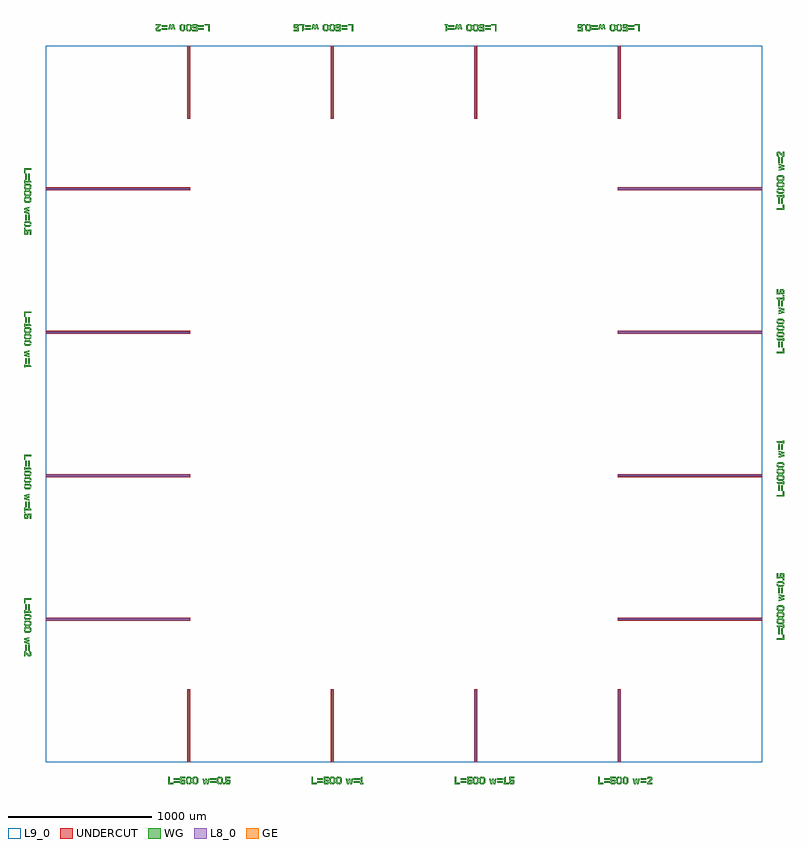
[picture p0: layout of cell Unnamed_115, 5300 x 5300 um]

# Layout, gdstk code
from math import pi, radians
import gdstk
lib = gdstk.Library(unit=1e-6, precision=1e-09)
def R(c, l, rs):  # rectangles x0, y0, x1, y1
    for r in rs: c.add(gdstk.rectangle(r[:2], r[2:], *l))
def P(c, l, *ps):  # polygons
    for p in ps: c.add(gdstk.Polygon(p, *l))
WG = (1, 0)
GE = (5, 0)
UNDERCUT = (6, 0)
L8_0 = (8, 0)
L9_0 = (9, 0)

rectangle_s5000_5000_l9_ = lib.new_cell('rectangle_S5000_5000_L9_b70b9926')
R(rectangle_s5000_5000_l9_, L9_0, [(0,0,5000,5000)])

rectangle_s2_1000_l5_0__ = lib.new_cell('rectangle_S2_1000_L5_0__abc0439f')
R(rectangle_s2_1000_l5_0__, GE, [(0,0,2,1000)])

rectangle_s20p5_1010_l6_ = lib.new_cell('rectangle_S20p5_1010_L6_62f8dd6a')
R(rectangle_s20p5_1010_l6_, UNDERCUT, [(0,0,20.5,1010)])

rectangle_s11p5_1005_l8_ = lib.new_cell('rectangle_S11p5_1005_L8_00330f73')
R(rectangle_s11p5_1005_l8_, L8_0, [(0,0,11.5,1005)])

rectangle_s21p5_1010_l6_ = lib.new_cell('rectangle_S21p5_1010_L6_237d21bb')
R(rectangle_s21p5_1010_l6_, UNDERCUT, [(0,0,21.5,1010)])

text_tl1000_w1_s50_p0_0_ = lib.new_cell('text_TL1000_w1_S50_P0_0_6f24b3aa')
R(text_tl1000_w1_s50_p0_0_, WG, [(45,10,85,20), (330,10,370,20), (45,30,85,40), (330,30,370,40)])
P(text_tl1000_w1_s50_p0_0_, WG, [(5,0),(5,50),(15,50),(15,10),(40,10),(40,0)],
  [(133.5,0),(136,10),(140,10),(145,15),(145,35),(140,40),(142.5,50),(145,50),(155,40),(155,10),(145,0)],
  [(178.5,0),(181,10),(185,10),(190,15),(190,35),(185,40),(187.5,50),(190,50),(200,40),(200,10),(190,0)],
  [(223.5,0),(226,10),(230,10),(235,15),(235,35),(230,40),(232.5,50),(235,50),(245,40),(245,10),(235,0)],
  [(125,0),(115,10),(115,40),(125,50),(136.5,50),(134,40),(130,40),(125,35),(125,15),(130,10),(127.5,0)],
  [(170,0),(160,10),(160,40),(170,50),(181.5,50),(179,40),(175,40),(170,35),(170,15),(175,10),(172.5,0)],
  [(215,0),(205,10),(205,40),(215,50),(226.5,50),(224,40),(220,40),(215,35),(215,15),(220,10),(217.5,0)],
  [(285,0),(275,35),(285,35),(290,17.5),(295,35),(305,35),(310,17.5),(315,35),(325,35),(315,0),(305,0),(300,17.5),(295,0)],
  [(90,0),(90,10),(95,10),(95,30),(90,30),(90,40),(100,50),(105,50),(105,10),(110,10),(110,0)],
  [(375,0),(375,10),(380,10),(380,30),(375,30),(375,40),(385,50),(390,50),(390,10),(395,10),(395,0)])

rectangle_s22_1010_l6_0_ = lib.new_cell('rectangle_S22_1010_L6_0_2662f377')
R(rectangle_s22_1010_l6_0_, UNDERCUT, [(0,0,22,1010)])

rectangle_s10p5_1005_l8_ = lib.new_cell('rectangle_S10p5_1005_L8_958497d4')
R(rectangle_s10p5_1005_l8_, L8_0, [(0,0,10.5,1005)])

rectangle_s1_1000_l5_0__ = lib.new_cell('rectangle_S1_1000_L5_0__ff0c7743')
R(rectangle_s1_1000_l5_0__, GE, [(0,0,1,1000)])

rectangle_s11_1005_l8_0_ = lib.new_cell('rectangle_S11_1005_L8_0_6216e62e')
R(rectangle_s11_1005_l8_0_, L8_0, [(0,0,11,1005)])

rectangle_s12_1005_l8_0_ = lib.new_cell('rectangle_S12_1005_L8_0_83c5b316')
R(rectangle_s12_1005_l8_0_, L8_0, [(0,0,12,1005)])

rectangle_s0p5_1000_l5__ = lib.new_cell('rectangle_S0p5_1000_L5__fdde3fbd')
R(rectangle_s0p5_1000_l5__, GE, [(0,0,0.5,1000)])

rectangle_s21_1010_l6_0_ = lib.new_cell('rectangle_S21_1010_L6_0_2ae6bab7')
R(rectangle_s21_1010_l6_0_, UNDERCUT, [(0,0,21,1010)])

text_tl1000_w2_s50_p0_0_ = lib.new_cell('text_TL1000_w2_S50_P0_0_6196c11b')
R(text_tl1000_w2_s50_p0_0_, WG, [(45,10,85,20), (330,10,370,20), (45,30,85,40), (330,30,370,40)])
P(text_tl1000_w2_s50_p0_0_, WG, [(5,0),(5,50),(15,50),(15,10),(40,10),(40,0)],
  [(375,0),(375,10),(400,35),(400,40),(385,40),(385,35),(375,35),(375,45),(380,50),(405,50),(410,45),(410,30),(390,10),(410,10),(410,0)],
  [(133.5,0),(136,10),(140,10),(145,15),(145,35),(140,40),(142.5,50),(145,50),(155,40),(155,10),(145,0)],
  [(178.5,0),(181,10),(185,10),(190,15),(190,35),(185,40),(187.5,50),(190,50),(200,40),(200,10),(190,0)],
  [(223.5,0),(226,10),(230,10),(235,15),(235,35),(230,40),(232.5,50),(235,50),(245,40),(245,10),(235,0)],
  [(125,0),(115,10),(115,40),(125,50),(136.5,50),(134,40),(130,40),(125,35),(125,15),(130,10),(127.5,0)],
  [(170,0),(160,10),(160,40),(170,50),(181.5,50),(179,40),(175,40),(170,35),(170,15),(175,10),(172.5,0)],
  [(215,0),(205,10),(205,40),(215,50),(226.5,50),(224,40),(220,40),(215,35),(215,15),(220,10),(217.5,0)],
  [(285,0),(275,35),(285,35),(290,17.5),(295,35),(305,35),(310,17.5),(315,35),(325,35),(315,0),(305,0),(300,17.5),(295,0)],
  [(90,0),(90,10),(95,10),(95,30),(90,30),(90,40),(100,50),(105,50),(105,10),(110,10),(110,0)])

text_tl1000_w1p5_s50_p0_ = lib.new_cell('text_TL1000_w1p5_S50_P0_775d5ec3')
R(text_tl1000_w1p5_s50_p0_, WG, [(400,0,410,10), (45,10,85,20), (330,10,370,20), (45,30,85,40), (330,30,370,40)])
P(text_tl1000_w1p5_s50_p0_, WG, [(420,0),(415,5),(415,15),(425,15),(425,10),(440,10),(440,20),(420,20),(415,25),(415,50),(450,50),(450,40),(425,40),(425,30),(445,30),(450,25),(450,5),(445,0)],
  [(133.5,0),(136,10),(140,10),(145,15),(145,35),(140,40),(142.5,50),(145,50),(155,40),(155,10),(145,0)],
  [(178.5,0),(181,10),(185,10),(190,15),(190,35),(185,40),(187.5,50),(190,50),(200,40),(200,10),(190,0)],
  [(223.5,0),(226,10),(230,10),(235,15),(235,35),(230,40),(232.5,50),(235,50),(245,40),(245,10),(235,0)],
  [(125,0),(115,10),(115,40),(125,50),(136.5,50),(134,40),(130,40),(125,35),(125,15),(130,10),(127.5,0)],
  [(170,0),(160,10),(160,40),(170,50),(181.5,50),(179,40),(175,40),(170,35),(170,15),(175,10),(172.5,0)],
  [(215,0),(205,10),(205,40),(215,50),(226.5,50),(224,40),(220,40),(215,35),(215,15),(220,10),(217.5,0)],
  [(5,0),(5,50),(15,50),(15,10),(40,10),(40,0)],
  [(285,0),(275,35),(285,35),(290,17.5),(295,35),(305,35),(310,17.5),(315,35),(325,35),(315,0),(305,0),(300,17.5),(295,0)],
  [(90,0),(90,10),(95,10),(95,30),(90,30),(90,40),(100,50),(105,50),(105,10),(110,10),(110,0)],
  [(375,0),(375,10),(380,10),(380,30),(375,30),(375,40),(385,50),(390,50),(390,10),(395,10),(395,0)])

text_tl1000_w0p5_s50_p0_ = lib.new_cell('text_TL1000_w0p5_S50_P0_1fb21efa')
R(text_tl1000_w0p5_s50_p0_, WG, [(420,0,430,10), (45,10,85,20), (330,10,370,20), (45,30,85,40), (330,30,370,40)])
P(text_tl1000_w0p5_s50_p0_, WG, [(440,0),(435,5),(435,15),(445,15),(445,10),(460,10),(460,20),(440,20),(435,25),(435,50),(470,50),(470,40),(445,40),(445,30),(465,30),(470,25),(470,5),(465,0)],
  [(133.5,0),(136,10),(140,10),(145,15),(145,35),(140,40),(142.5,50),(145,50),(155,40),(155,10),(145,0)],
  [(178.5,0),(181,10),(185,10),(190,15),(190,35),(185,40),(187.5,50),(190,50),(200,40),(200,10),(190,0)],
  [(223.5,0),(226,10),(230,10),(235,15),(235,35),(230,40),(232.5,50),(235,50),(245,40),(245,10),(235,0)],
  [(393.5,0),(396,10),(400,10),(405,15),(405,35),(400,40),(402.5,50),(405,50),(415,40),(415,10),(405,0)],
  [(125,0),(115,10),(115,40),(125,50),(136.5,50),(134,40),(130,40),(125,35),(125,15),(130,10),(127.5,0)],
  [(170,0),(160,10),(160,40),(170,50),(181.5,50),(179,40),(175,40),(170,35),(170,15),(175,10),(172.5,0)],
  [(215,0),(205,10),(205,40),(215,50),(226.5,50),(224,40),(220,40),(215,35),(215,15),(220,10),(217.5,0)],
  [(385,0),(375,10),(375,40),(385,50),(396.5,50),(394,40),(390,40),(385,35),(385,15),(390,10),(387.5,0)],
  [(5,0),(5,50),(15,50),(15,10),(40,10),(40,0)],
  [(285,0),(275,35),(285,35),(290,17.5),(295,35),(305,35),(310,17.5),(315,35),(325,35),(315,0),(305,0),(300,17.5),(295,0)],
  [(90,0),(90,10),(95,10),(95,30),(90,30),(90,40),(100,50),(105,50),(105,10),(110,10),(110,0)])

rectangle_s1p5_1000_l5__ = lib.new_cell('rectangle_S1p5_1000_L5__7c39a208')
R(rectangle_s1p5_1000_l5__, GE, [(0,0,1.5,1000)])

unnamed_113 = lib.new_cell('Unnamed_113')
unnamed_113.add(gdstk.Reference(rectangle_s2_1000_l5_0__, (4000,0)))
unnamed_113.add(gdstk.Reference(rectangle_s20p5_1010_l6_, (990,0)))
unnamed_113.add(gdstk.Reference(rectangle_s11p5_1005_l8_, (2995,0)))
unnamed_113.add(gdstk.Reference(rectangle_s21p5_1010_l6_, (2990,0)))
unnamed_113.add(gdstk.Reference(text_tl1000_w1_s50_p0_0_, (1850,-150)))
unnamed_113.add(gdstk.Reference(rectangle_s22_1010_l6_0_, (3990,0)))
unnamed_113.add(gdstk.Reference(rectangle_s10p5_1005_l8_, (995,0)))
unnamed_113.add(gdstk.Reference(rectangle_s1_1000_l5_0__, (2000,0)))
unnamed_113.add(gdstk.Reference(rectangle_s11_1005_l8_0_, (1995,0)))
unnamed_113.add(gdstk.Reference(rectangle_s12_1005_l8_0_, (3995,0)))
unnamed_113.add(gdstk.Reference(rectangle_s0p5_1000_l5__, (1000,0)))
unnamed_113.add(gdstk.Reference(rectangle_s21_1010_l6_0_, (1990,0)))
unnamed_113.add(gdstk.Reference(text_tl1000_w2_s50_p0_0_, (3850,-150)))
unnamed_113.add(gdstk.Reference(text_tl1000_w1p5_s50_p0_, (2850,-150)))
unnamed_113.add(gdstk.Reference(text_tl1000_w0p5_s50_p0_, (850,-150)))
unnamed_113.add(gdstk.Reference(rectangle_s1p5_1000_l5__, (3000,0)))

text_tl500_w2_s50_p0_0__ = lib.new_cell('text_TL500_w2_S50_P0_0__130db43a')
R(text_tl500_w2_s50_p0_0__, WG, [(45,10,85,20), (300,10,340,20), (45,30,85,40), (300,30,340,40)])
P(text_tl500_w2_s50_p0_0__, WG, [(5,0),(5,50),(15,50),(15,10),(40,10),(40,0)],
  [(345,0),(345,10),(370,35),(370,40),(355,40),(355,35),(345,35),(345,45),(350,50),(375,50),(380,45),(380,30),(360,10),(380,10),(380,0)],
  [(148.5,0),(151,10),(155,10),(160,15),(160,35),(155,40),(157.5,50),(160,50),(170,40),(170,10),(160,0)],
  [(193.5,0),(196,10),(200,10),(205,15),(205,35),(200,40),(202.5,50),(205,50),(215,40),(215,10),(205,0)],
  [(140,0),(130,10),(130,40),(140,50),(151.5,50),(149,40),(145,40),(140,35),(140,15),(145,10),(142.5,0)],
  [(185,0),(175,10),(175,40),(185,50),(196.5,50),(194,40),(190,40),(185,35),(185,15),(190,10),(187.5,0)],
  [(95,0),(90,5),(90,15),(100,15),(100,10),(115,10),(115,20),(95,20),(90,25),(90,50),(125,50),(125,40),(100,40),(100,30),(120,30),(125,25),(125,5),(120,0)],
  [(255,0),(245,35),(255,35),(260,17.5),(265,35),(275,35),(280,17.5),(285,35),(295,35),(285,0),(275,0),(270,17.5),(265,0)])

text_tl500_w1p5_s50_p0__ = lib.new_cell('text_TL500_w1p5_S50_P0__81e1402a')
R(text_tl500_w1p5_s50_p0__, WG, [(370,0,380,10), (45,10,85,20), (300,10,340,20), (45,30,85,40), (300,30,340,40)])
P(text_tl500_w1p5_s50_p0__, WG, [(345,0),(345,10),(350,10),(350,30),(345,30),(345,40),(355,50),(360,50),(360,10),(365,10),(365,0)],
  [(148.5,0),(151,10),(155,10),(160,15),(160,35),(155,40),(157.5,50),(160,50),(170,40),(170,10),(160,0)],
  [(193.5,0),(196,10),(200,10),(205,15),(205,35),(200,40),(202.5,50),(205,50),(215,40),(215,10),(205,0)],
  [(140,0),(130,10),(130,40),(140,50),(151.5,50),(149,40),(145,40),(140,35),(140,15),(145,10),(142.5,0)],
  [(185,0),(175,10),(175,40),(185,50),(196.5,50),(194,40),(190,40),(185,35),(185,15),(190,10),(187.5,0)],
  [(5,0),(5,50),(15,50),(15,10),(40,10),(40,0)],
  [(95,0),(90,5),(90,15),(100,15),(100,10),(115,10),(115,20),(95,20),(90,25),(90,50),(125,50),(125,40),(100,40),(100,30),(120,30),(125,25),(125,5),(120,0)],
  [(390,0),(385,5),(385,15),(395,15),(395,10),(410,10),(410,20),(390,20),(385,25),(385,50),(420,50),(420,40),(395,40),(395,30),(415,30),(420,25),(420,5),(415,0)],
  [(255,0),(245,35),(255,35),(260,17.5),(265,35),(275,35),(280,17.5),(285,35),(295,35),(285,0),(275,0),(270,17.5),(265,0)])

rectangle_s1p5_500_l5_0_ = lib.new_cell('rectangle_S1p5_500_L5_0_4cbd8c13')
R(rectangle_s1p5_500_l5_0_, GE, [(0,0,1.5,500)])

rectangle_s11_505_l8_0__ = lib.new_cell('rectangle_S11_505_L8_0__b5d265d8')
R(rectangle_s11_505_l8_0__, L8_0, [(0,0,11,505)])

rectangle_s12_505_l8_0__ = lib.new_cell('rectangle_S12_505_L8_0__2e610ba0')
R(rectangle_s12_505_l8_0__, L8_0, [(0,0,12,505)])

rectangle_s21_510_l6_0__ = lib.new_cell('rectangle_S21_510_L6_0__28a18640')
R(rectangle_s21_510_l6_0__, UNDERCUT, [(0,0,21,510)])

rectangle_s20p5_510_l6__ = lib.new_cell('rectangle_S20p5_510_L6__9ec55211')
R(rectangle_s20p5_510_l6__, UNDERCUT, [(0,0,20.5,510)])

rectangle_s11p5_505_l8__ = lib.new_cell('rectangle_S11p5_505_L8__4671df64')
R(rectangle_s11p5_505_l8__, L8_0, [(0,0,11.5,505)])

rectangle_s1_500_l5_0_c_ = lib.new_cell('rectangle_S1_500_L5_0_C_7a725fb0')
R(rectangle_s1_500_l5_0_c_, GE, [(0,0,1,500)])

text_tl500_w0p5_s50_p0__ = lib.new_cell('text_TL500_w0p5_S50_P0__7b2a7c4f')
R(text_tl500_w0p5_s50_p0__, WG, [(390,0,400,10), (45,10,85,20), (300,10,340,20), (45,30,85,40), (300,30,340,40)])
P(text_tl500_w0p5_s50_p0__, WG, [(148.5,0),(151,10),(155,10),(160,15),(160,35),(155,40),(157.5,50),(160,50),(170,40),(170,10),(160,0)],
  [(193.5,0),(196,10),(200,10),(205,15),(205,35),(200,40),(202.5,50),(205,50),(215,40),(215,10),(205,0)],
  [(363.5,0),(366,10),(370,10),(375,15),(375,35),(370,40),(372.5,50),(375,50),(385,40),(385,10),(375,0)],
  [(140,0),(130,10),(130,40),(140,50),(151.5,50),(149,40),(145,40),(140,35),(140,15),(145,10),(142.5,0)],
  [(185,0),(175,10),(175,40),(185,50),(196.5,50),(194,40),(190,40),(185,35),(185,15),(190,10),(187.5,0)],
  [(355,0),(345,10),(345,40),(355,50),(366.5,50),(364,40),(360,40),(355,35),(355,15),(360,10),(357.5,0)],
  [(5,0),(5,50),(15,50),(15,10),(40,10),(40,0)],
  [(95,0),(90,5),(90,15),(100,15),(100,10),(115,10),(115,20),(95,20),(90,25),(90,50),(125,50),(125,40),(100,40),(100,30),(120,30),(125,25),(125,5),(120,0)],
  [(410,0),(405,5),(405,15),(415,15),(415,10),(430,10),(430,20),(410,20),(405,25),(405,50),(440,50),(440,40),(415,40),(415,30),(435,30),(440,25),(440,5),(435,0)],
  [(255,0),(245,35),(255,35),(260,17.5),(265,35),(275,35),(280,17.5),(285,35),(295,35),(285,0),(275,0),(270,17.5),(265,0)])

rectangle_s21p5_510_l6__ = lib.new_cell('rectangle_S21p5_510_L6__8eb5d5c6')
R(rectangle_s21p5_510_l6__, UNDERCUT, [(0,0,21.5,510)])

rectangle_s0p5_500_l5_0_ = lib.new_cell('rectangle_S0p5_500_L5_0_ba7ba93c')
R(rectangle_s0p5_500_l5_0_, GE, [(0,0,0.5,500)])

text_tl500_w1_s50_p0_0__ = lib.new_cell('text_TL500_w1_S50_P0_0__49b9cf80')
R(text_tl500_w1_s50_p0_0__, WG, [(45,10,85,20), (300,10,340,20), (45,30,85,40), (300,30,340,40)])
P(text_tl500_w1_s50_p0_0__, WG, [(345,0),(345,10),(350,10),(350,30),(345,30),(345,40),(355,50),(360,50),(360,10),(365,10),(365,0)],
  [(5,0),(5,50),(15,50),(15,10),(40,10),(40,0)],
  [(148.5,0),(151,10),(155,10),(160,15),(160,35),(155,40),(157.5,50),(160,50),(170,40),(170,10),(160,0)],
  [(193.5,0),(196,10),(200,10),(205,15),(205,35),(200,40),(202.5,50),(205,50),(215,40),(215,10),(205,0)],
  [(140,0),(130,10),(130,40),(140,50),(151.5,50),(149,40),(145,40),(140,35),(140,15),(145,10),(142.5,0)],
  [(185,0),(175,10),(175,40),(185,50),(196.5,50),(194,40),(190,40),(185,35),(185,15),(190,10),(187.5,0)],
  [(95,0),(90,5),(90,15),(100,15),(100,10),(115,10),(115,20),(95,20),(90,25),(90,50),(125,50),(125,40),(100,40),(100,30),(120,30),(125,25),(125,5),(120,0)],
  [(255,0),(245,35),(255,35),(260,17.5),(265,35),(275,35),(280,17.5),(285,35),(295,35),(285,0),(275,0),(270,17.5),(265,0)])

rectangle_s22_510_l6_0__ = lib.new_cell('rectangle_S22_510_L6_0__499f4d31')
R(rectangle_s22_510_l6_0__, UNDERCUT, [(0,0,22,510)])

rectangle_s2_500_l5_0_c_ = lib.new_cell('rectangle_S2_500_L5_0_C_28cbfda4')
R(rectangle_s2_500_l5_0_c_, GE, [(0,0,2,500)])

rectangle_s10p5_505_l8__ = lib.new_cell('rectangle_S10p5_505_L8__4a725214')
R(rectangle_s10p5_505_l8__, L8_0, [(0,0,10.5,505)])

unnamed_112 = lib.new_cell('Unnamed_112')
unnamed_112.add(gdstk.Reference(text_tl500_w2_s50_p0_0__, (3850,-150)))
unnamed_112.add(gdstk.Reference(text_tl500_w1p5_s50_p0__, (2850,-150)))
unnamed_112.add(gdstk.Reference(rectangle_s1p5_500_l5_0_, (3000,0)))
unnamed_112.add(gdstk.Reference(rectangle_s11_505_l8_0__, (1995,0)))
unnamed_112.add(gdstk.Reference(rectangle_s12_505_l8_0__, (3995,0)))
unnamed_112.add(gdstk.Reference(rectangle_s21_510_l6_0__, (1990,0)))
unnamed_112.add(gdstk.Reference(rectangle_s20p5_510_l6__, (990,0)))
unnamed_112.add(gdstk.Reference(rectangle_s11p5_505_l8__, (2995,0)))
unnamed_112.add(gdstk.Reference(rectangle_s1_500_l5_0_c_, (2000,0)))
unnamed_112.add(gdstk.Reference(text_tl500_w0p5_s50_p0__, (850,-150)))
unnamed_112.add(gdstk.Reference(rectangle_s21p5_510_l6__, (2990,0)))
unnamed_112.add(gdstk.Reference(rectangle_s0p5_500_l5_0_, (1000,0)))
unnamed_112.add(gdstk.Reference(text_tl500_w1_s50_p0_0__, (1850,-150)))
unnamed_112.add(gdstk.Reference(rectangle_s22_510_l6_0__, (3990,0)))
unnamed_112.add(gdstk.Reference(rectangle_s2_500_l5_0_c_, (4000,0)))
unnamed_112.add(gdstk.Reference(rectangle_s10p5_505_l8__, (995,0)))

unnamed_114 = lib.new_cell('Unnamed_114')
unnamed_114.add(gdstk.Reference(rectangle_s2_1000_l5_0__, (4000,0)))
unnamed_114.add(gdstk.Reference(rectangle_s20p5_1010_l6_, (990,0)))
unnamed_114.add(gdstk.Reference(rectangle_s11p5_1005_l8_, (2995,0)))
unnamed_114.add(gdstk.Reference(rectangle_s21p5_1010_l6_, (2990,0)))
unnamed_114.add(gdstk.Reference(text_tl1000_w1_s50_p0_0_, (1850,-150)))
unnamed_114.add(gdstk.Reference(rectangle_s22_1010_l6_0_, (3990,0)))
unnamed_114.add(gdstk.Reference(rectangle_s10p5_1005_l8_, (995,0)))
unnamed_114.add(gdstk.Reference(rectangle_s1_1000_l5_0__, (2000,0)))
unnamed_114.add(gdstk.Reference(rectangle_s11_1005_l8_0_, (1995,0)))
unnamed_114.add(gdstk.Reference(rectangle_s12_1005_l8_0_, (3995,0)))
unnamed_114.add(gdstk.Reference(rectangle_s0p5_1000_l5__, (1000,0)))
unnamed_114.add(gdstk.Reference(rectangle_s21_1010_l6_0_, (1990,0)))
unnamed_114.add(gdstk.Reference(text_tl1000_w2_s50_p0_0_, (3850,-150)))
unnamed_114.add(gdstk.Reference(text_tl1000_w1p5_s50_p0_, (2850,-150)))
unnamed_114.add(gdstk.Reference(text_tl1000_w0p5_s50_p0_, (850,-150)))
unnamed_114.add(gdstk.Reference(rectangle_s1p5_1000_l5__, (3000,0)))

unnamed_111 = lib.new_cell('Unnamed_111')
unnamed_111.add(gdstk.Reference(text_tl500_w2_s50_p0_0__, (3850,-150)))
unnamed_111.add(gdstk.Reference(text_tl500_w1p5_s50_p0__, (2850,-150)))
unnamed_111.add(gdstk.Reference(rectangle_s1p5_500_l5_0_, (3000,0)))
unnamed_111.add(gdstk.Reference(rectangle_s11_505_l8_0__, (1995,0)))
unnamed_111.add(gdstk.Reference(rectangle_s12_505_l8_0__, (3995,0)))
unnamed_111.add(gdstk.Reference(rectangle_s21_510_l6_0__, (1990,0)))
unnamed_111.add(gdstk.Reference(rectangle_s20p5_510_l6__, (990,0)))
unnamed_111.add(gdstk.Reference(rectangle_s11p5_505_l8__, (2995,0)))
unnamed_111.add(gdstk.Reference(rectangle_s1_500_l5_0_c_, (2000,0)))
unnamed_111.add(gdstk.Reference(text_tl500_w0p5_s50_p0__, (850,-150)))
unnamed_111.add(gdstk.Reference(rectangle_s21p5_510_l6__, (2990,0)))
unnamed_111.add(gdstk.Reference(rectangle_s0p5_500_l5_0_, (1000,0)))
unnamed_111.add(gdstk.Reference(text_tl500_w1_s50_p0_0__, (1850,-150)))
unnamed_111.add(gdstk.Reference(rectangle_s22_510_l6_0__, (3990,0)))
unnamed_111.add(gdstk.Reference(rectangle_s2_500_l5_0_c_, (4000,0)))
unnamed_111.add(gdstk.Reference(rectangle_s10p5_505_l8__, (995,0)))

unnamed_115 = lib.new_cell('Unnamed_115')
unnamed_115.add(gdstk.Reference(rectangle_s5000_5000_l9_, (0,0)))
unnamed_115.add(gdstk.Reference(unnamed_113, (0,5000), rotation=3*pi/2))
unnamed_115.add(gdstk.Reference(unnamed_112, (5000,5000), rotation=pi))
unnamed_115.add(gdstk.Reference(unnamed_114, (5000,0), rotation=pi/2))
unnamed_115.add(gdstk.Reference(unnamed_111, (0,0)))

lib.write_gds('Unnamed_115.gds')
